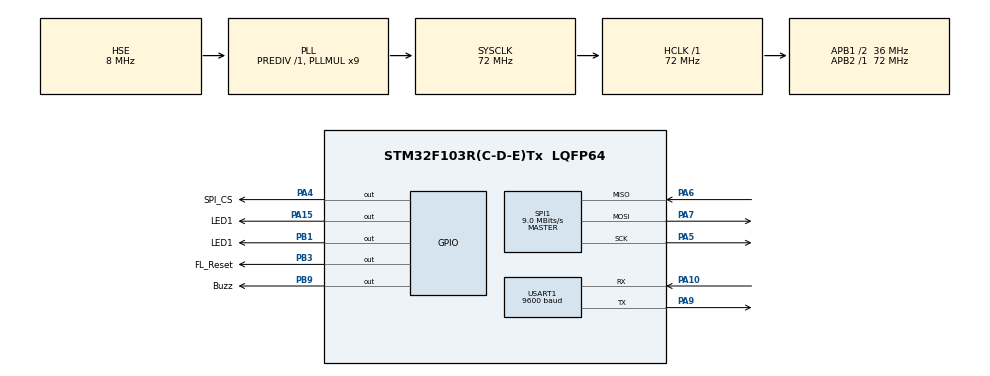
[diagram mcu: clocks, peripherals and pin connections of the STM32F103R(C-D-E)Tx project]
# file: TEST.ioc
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Mcu.Family=STM32F1
Mcu.Name=STM32F103R(C-D-E)Tx
Mcu.Package=LQFP64
NVIC.PriorityGroup=NVIC_PRIORITYGROUP_4
NVIC.USART1_IRQn=true\:0\:0\:false\:false\:true\:true\:true
PA10.Mode=Asynchronous
PA10.Signal=USART1_RX
PA13.Mode=Serial_Wire
PA13.Signal=SYS_JTMS-SWDIO
PA14.Mode=Serial_Wire
PA14.Signal=SYS_JTCK-SWCLK
PA15.GPIO_Label=LED1
PA15.GPIO_ModeDefaultOutputPP=GPIO_MODE_OUTPUT_PP
PA15.GPIO_PuPd=GPIO_NOPULL
PA15.GPIO_Speed=GPIO_SPEED_FREQ_HIGH
PA15.PinState=GPIO_PIN_SET
PA15.Signal=GPIO_Output
PA4.GPIO_Label=SPI_CS
PA4.GPIO_PuPd=GPIO_PULLUP
PA4.GPIO_Speed=GPIO_SPEED_FREQ_LOW
PA4.PinState=GPIO_PIN_SET
PA4.Signal=GPIO_Output
PA5.Mode=Full_Duplex_Master
PA5.Signal=SPI1_SCK
PA6.Mode=Full_Duplex_Master
PA6.Signal=SPI1_MISO
PA7.Mode=Full_Duplex_Master
PA7.Signal=SPI1_MOSI
PA9.Mode=Asynchronous
PA9.Signal=USART1_TX
PB1.GPIO_Label=LED1
PB1.Signal=GPIO_Output
PB3.GPIO_Label=FL_Reset
PB3.GPIO_PuPd=GPIO_PULLDOWN
PB3.Signal=GPIO_Output
PB9.GPIO_Label=Buzz
PB9.GPIO_PuPd=GPIO_PULLDOWN
PB9.PinState=GPIO_PIN_RESET
PB9.Signal=GPIO_Output
PD0-OSC_IN.Mode=HSE-External-Oscillator
PD0-OSC_IN.Signal=RCC_OSC_IN
PD1-OSC_OUT.Mode=HSE-External-Oscillator
PD1-OSC_OUT.Signal=RCC_OSC_OUT
ProjectManager.HeapSize=0x200
ProjectManager.StackSize=0x400
ProjectManager.TargetToolchain=MDK-ARM V5.32
RCC.AHBFreq_Value=72000000
RCC.APB1CLKDivider=RCC_HCLK_DIV2
RCC.APB1Freq_Value=36000000
RCC.APB1TimFreq_Value=72000000
RCC.APB2Freq_Value=72000000
RCC.APB2TimFreq_Value=72000000
RCC.HCLKFreq_Value=72000000
RCC.PLLMUL=RCC_PLL_MUL9
RCC.PLLSourceVirtual=RCC_PLLSOURCE_HSE
RCC.SYSCLKFreq_VALUE=72000000
RCC.SYSCLKSource=RCC_SYSCLKSOURCE_PLLCLK
RCC.USBFreq_Value=72000000
SPI1.BaudRatePrescaler=SPI_BAUDRATEPRESCALER_8
SPI1.CalculateBaudRate=9.0 MBits/s
SPI1.Direction=SPI_DIRECTION_2LINES
SPI1.Mode=SPI_MODE_MASTER
SPI1.VirtualType=VM_MASTER
USART1.BaudRate=9600
USART1.VirtualMode=VM_ASYNC
board=custom

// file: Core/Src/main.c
/* USER CODE BEGIN Header */
/**
  ******************************************************************************
  * @file           : main.c
  * @brief          : Main program body
  ******************************************************************************
  * @attention
  *
  * Copyright (c) 2022 STMicroelectronics.
  * All rights reserved.
  *
  * This software is licensed under terms that can be found in the LICENSE file
  * in the root directory of this software component.
  * If no LICENSE file comes with this software, it is provided AS-IS.
  *
  ******************************************************************************
  */
/* USER CODE END Header */
#include "main.h"

/* USER CODE BEGIN Includes */
#include "w25qxx.h"
#include "stdlib.h"
#include "stdio.h"
/* USER CODE END Includes */

SPI_HandleTypeDef hspi1;

UART_HandleTypeDef huart1;

/* USER CODE BEGIN PV */
#ifdef __GNUC__
 /* With GCC/RAISONANCE, small printf (option LD Linker->Libraries->Small printf
 set to 'Yes') calls __io_putchar() */
 #define PUTCHAR_PROTOTYPE int __io_putchar(int ch)
#else
 #define PUTCHAR_PROTOTYPE int fputc(int ch, FILE *f)
#endif /* __GNUC__ */
PUTCHAR_PROTOTYPE
{
 /* Place your implementation of fputc here */
 /* e.g. write a character, to the USART */
 HAL_UART_Transmit(&huart1, (uint8_t *)&ch, 1,1000);
 return ch;
}
/* USER CODE END PV */

void SystemClock_Config(void);
static void MX_GPIO_Init(void);
static void MX_SPI1_Init(void);
static void MX_USART1_UART_Init(void);

int main(void)
{

  /* MCU Configuration--------------------------------------------------------*/

  /* Reset of all peripherals, Initializes the Flash interface and the Systick. */
  HAL_Init();

  /* Configure the system clock */
  SystemClock_Config();

  /* Initialize all configured peripherals */
  MX_GPIO_Init();
  MX_SPI1_Init();
  MX_USART1_UART_Init();
  /* USER CODE BEGIN 2 */
	HAL_GPIO_WritePin(FL_Reset_GPIO_Port,FL_Reset_Pin,0);
	HAL_Delay(10);
	HAL_GPIO_WritePin(FL_Reset_GPIO_Port,FL_Reset_Pin,1);
	//W25qxx_Init();
  /* USER CODE END 2 */

  /* Infinite loop */
  while (1)
  {

    /* USER CODE BEGIN 3 */
		printf("hello");
		HAL_GPIO_TogglePin(GPIOB,GPIO_PIN_1);
		HAL_GPIO_TogglePin(GPIOA,GPIO_PIN_15);
		HAL_Delay(1000);
  }
  /* USER CODE END 3 */
}

void SystemClock_Config(void)
{
  RCC_OscInitTypeDef RCC_OscInitStruct = {0};
  RCC_ClkInitTypeDef RCC_ClkInitStruct = {0};

  /** Initializes the RCC Oscillators according to the specified parameters
  * in the RCC_OscInitTypeDef structure.
  */
  RCC_OscInitStruct.OscillatorType = RCC_OSCILLATORTYPE_HSE;
  RCC_OscInitStruct.HSEState = RCC_HSE_ON;
  RCC_OscInitStruct.HSEPredivValue = RCC_HSE_PREDIV_DIV1;
  RCC_OscInitStruct.HSIState = RCC_HSI_ON;
  RCC_OscInitStruct.PLL.PLLState = RCC_PLL_ON;
  RCC_OscInitStruct.PLL.PLLSource = RCC_PLLSOURCE_HSE;
  RCC_OscInitStruct.PLL.PLLMUL = RCC_PLL_MUL9;
  if (HAL_RCC_OscConfig(&RCC_OscInitStruct) != HAL_OK)
  {
    Error_Handler();
  }
  /** Initializes the CPU, AHB and APB buses clocks
  */
  RCC_ClkInitStruct.ClockType = RCC_CLOCKTYPE_HCLK|RCC_CLOCKTYPE_SYSCLK
                              |RCC_CLOCKTYPE_PCLK1|RCC_CLOCKTYPE_PCLK2;
  RCC_ClkInitStruct.SYSCLKSource = RCC_SYSCLKSOURCE_PLLCLK;
  RCC_ClkInitStruct.AHBCLKDivider = RCC_SYSCLK_DIV1;
  RCC_ClkInitStruct.APB1CLKDivider = RCC_HCLK_DIV2;
  RCC_ClkInitStruct.APB2CLKDivider = RCC_HCLK_DIV1;

  if (HAL_RCC_ClockConfig(&RCC_ClkInitStruct, FLASH_LATENCY_2) != HAL_OK)
  {
    Error_Handler();
  }
}

static void MX_SPI1_Init(void)
{

  /* SPI1 parameter configuration*/
  hspi1.Instance = SPI1;
  hspi1.Init.Mode = SPI_MODE_MASTER;
  hspi1.Init.Direction = SPI_DIRECTION_2LINES;
  hspi1.Init.DataSize = SPI_DATASIZE_8BIT;
  hspi1.Init.CLKPolarity = SPI_POLARITY_LOW;
  hspi1.Init.CLKPhase = SPI_PHASE_1EDGE;
  hspi1.Init.NSS = SPI_NSS_SOFT;
  hspi1.Init.BaudRatePrescaler = SPI_BAUDRATEPRESCALER_8;
  hspi1.Init.FirstBit = SPI_FIRSTBIT_MSB;
  hspi1.Init.TIMode = SPI_TIMODE_DISABLE;
  hspi1.Init.CRCCalculation = SPI_CRCCALCULATION_DISABLE;
  hspi1.Init.CRCPolynomial = 10;
  if (HAL_SPI_Init(&hspi1) != HAL_OK)
  {
    Error_Handler();
  }

}

static void MX_USART1_UART_Init(void)
{

  huart1.Instance = USART1;
  huart1.Init.BaudRate = 9600;
  huart1.Init.WordLength = UART_WORDLENGTH_8B;
  huart1.Init.StopBits = UART_STOPBITS_1;
  huart1.Init.Parity = UART_PARITY_NONE;
  huart1.Init.Mode = UART_MODE_TX_RX;
  huart1.Init.HwFlowCtl = UART_HWCONTROL_NONE;
  huart1.Init.OverSampling = UART_OVERSAMPLING_16;
  if (HAL_UART_Init(&huart1) != HAL_OK)
  {
    Error_Handler();
  }

}

static void MX_GPIO_Init(void)
{
  GPIO_InitTypeDef GPIO_InitStruct = {0};

  /* GPIO Ports Clock Enable */
  __HAL_RCC_GPIOD_CLK_ENABLE();
  __HAL_RCC_GPIOA_CLK_ENABLE();
  __HAL_RCC_GPIOB_CLK_ENABLE();

  /*Configure GPIO pin Output Level */
  HAL_GPIO_WritePin(GPIOA, SPI_CS_Pin|LED1A15_Pin, GPIO_PIN_SET);

  /*Configure GPIO pin Output Level */
  HAL_GPIO_WritePin(GPIOB, LED1_Pin|FL_Reset_Pin|Buzz_Pin, GPIO_PIN_RESET);

  /*Configure GPIO pin : SPI_CS_Pin */
  GPIO_InitStruct.Pin = SPI_CS_Pin;
  GPIO_InitStruct.Mode = GPIO_MODE_OUTPUT_PP;
  GPIO_InitStruct.Pull = GPIO_PULLUP;
  GPIO_InitStruct.Speed = GPIO_SPEED_FREQ_LOW;
  HAL_GPIO_Init(SPI_CS_GPIO_Port, &GPIO_InitStruct);

  /*Configure GPIO pin : LED1_Pin */
  GPIO_InitStruct.Pin = LED1_Pin;
  GPIO_InitStruct.Mode = GPIO_MODE_OUTPUT_PP;
  GPIO_InitStruct.Pull = GPIO_PULLDOWN;
  GPIO_InitStruct.Speed = GPIO_SPEED_FREQ_LOW;
  HAL_GPIO_Init(LED1_GPIO_Port, &GPIO_InitStruct);

  /*Configure GPIO pin : LED1A15_Pin */
  GPIO_InitStruct.Pin = LED1A15_Pin;
  GPIO_InitStruct.Mode = GPIO_MODE_OUTPUT_PP;
  GPIO_InitStruct.Pull = GPIO_PULLDOWN;
  GPIO_InitStruct.Speed = GPIO_SPEED_FREQ_HIGH;
  HAL_GPIO_Init(LED1A15_GPIO_Port, &GPIO_InitStruct);

  /*Configure GPIO pins : FL_Reset_Pin Buzz_Pin */
  GPIO_InitStruct.Pin = FL_Reset_Pin|Buzz_Pin;
  GPIO_InitStruct.Mode = GPIO_MODE_OUTPUT_PP;
  GPIO_InitStruct.Pull = GPIO_PULLDOWN;
  GPIO_InitStruct.Speed = GPIO_SPEED_FREQ_LOW;
  HAL_GPIO_Init(GPIOB, &GPIO_InitStruct);

}

void Error_Handler(void)
{
  __disable_irq();
  while (1)
  {
  }
}
